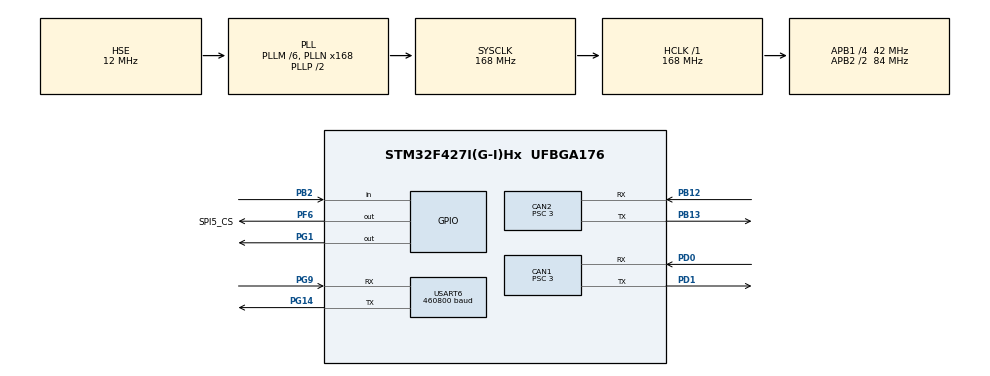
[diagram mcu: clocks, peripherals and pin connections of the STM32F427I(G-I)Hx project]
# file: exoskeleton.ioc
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CAN1.BS1=CAN_BS1_9TQ
CAN1.BS2=CAN_BS2_4TQ
CAN1.CalculateBaudRate=1000000
CAN1.CalculateTimeBit=1000
CAN1.CalculateTimeQuantum=71.42857142857143
CAN1.NART=DISABLE
CAN1.Prescaler=3
CAN1.SJW=CAN_SJW_1TQ
CAN2.BS1=CAN_BS1_9TQ
CAN2.BS2=CAN_BS2_4TQ
CAN2.CalculateBaudRate=1000000
CAN2.CalculateTimeBit=1000
CAN2.CalculateTimeQuantum=71.42857142857143
CAN2.Prescaler=3
Dma.Request0=USART6_RX
Dma.USART6_RX.0.Direction=DMA_PERIPH_TO_MEMORY
Dma.USART6_RX.0.FIFOMode=DMA_FIFOMODE_DISABLE
Dma.USART6_RX.0.Instance=DMA2_Stream1
Dma.USART6_RX.0.MemDataAlignment=DMA_MDATAALIGN_BYTE
Dma.USART6_RX.0.MemInc=DMA_MINC_ENABLE
Dma.USART6_RX.0.Mode=DMA_CIRCULAR
Dma.USART6_RX.0.PeriphDataAlignment=DMA_PDATAALIGN_BYTE
Dma.USART6_RX.0.PeriphInc=DMA_PINC_DISABLE
Dma.USART6_RX.0.Priority=DMA_PRIORITY_LOW
FREERTOS.INCLUDE_vTaskDelayUntil=1
FREERTOS.MEMORY_ALLOCATION=0
FREERTOS.Tasks01=SendPC,0,256,SendPCTask,Default,NULL,Dynamic,NULL,NULL;Schedule,0,256,scheduleTask,Default,NULL,Dynamic,NULL,NULL;Control,0,256,ControlTaskHandle,Default,NULL,Dynamic,NULL,NULL
FREERTOS.configENABLE_FPU=1
FREERTOS.configUSE_TIMERS=1
Mcu.Family=STM32F4
Mcu.Name=STM32F427I(G-I)Hx
Mcu.Package=UFBGA176
NVIC.CAN1_RX0_IRQn=true\:5\:0\:false\:false\:true\:true\:true\:true\:true
NVIC.CAN2_RX0_IRQn=true\:5\:0\:false\:false\:true\:true\:true\:true\:true
NVIC.DMA2_Stream1_IRQn=true\:5\:0\:false\:false\:true\:true\:false\:true\:true
NVIC.PriorityGroup=NVIC_PRIORITYGROUP_4
NVIC.TIM1_UP_TIM10_IRQn=true\:15\:0\:false\:false\:true\:false\:false\:true\:true
NVIC.TimeBase=TIM1_UP_TIM10_IRQn
NVIC.TimeBaseIP=TIM1
NVIC.USART6_IRQn=true\:5\:0\:false\:false\:true\:true\:true\:true\:true
PA13.Mode=Serial_Wire
PA13.Signal=SYS_JTMS-SWDIO
PA14.Mode=Serial_Wire
PA14.Signal=SYS_JTCK-SWCLK
PB12.Mode=CAN_Activate
PB12.Signal=CAN2_RX
PB13.Mode=CAN_Activate
PB13.Signal=CAN2_TX
PB2/BOOT1.Signal=GPIO_Input
PC14/OSC32_IN.Mode=LSE-External-Oscillator
PC14/OSC32_IN.Signal=RCC_OSC32_IN
PC15/OSC32_OUT.Mode=LSE-External-Oscillator
PC15/OSC32_OUT.Signal=RCC_OSC32_OUT
PD0.GPIO_PuPd=GPIO_NOPULL
PD0.Mode=CAN_Activate
PD0.Signal=CAN1_RX
PD1.GPIO_PuPd=GPIO_NOPULL
PD1.Mode=CAN_Activate
PD1.Signal=CAN1_TX
PD8.Signal=USART3_TX
PD9.Signal=USART3_RX
PE7.Signal=UART7_RX
PE8.Signal=UART7_TX
PF6.GPIO_Label=SPI5_CS
PF6.Signal=GPIO_Output
PG1.Signal=GPIO_Output
PG14.Mode=Asynchronous
PG14.Signal=USART6_TX
PG9.Mode=Asynchronous
PG9.Signal=USART6_RX
PH0/OSC_IN.Mode=HSE-External-Oscillator
PH0/OSC_IN.Signal=RCC_OSC_IN
PH1/OSC_OUT.Mode=HSE-External-Oscillator
PH1/OSC_OUT.Signal=RCC_OSC_OUT
ProjectManager.HeapSize=0x200
ProjectManager.StackSize=0x400
ProjectManager.TargetToolchain=MDK-ARM V5.32
RCC.48MHZClocksFreq_Value=48000000
RCC.AHBFreq_Value=168000000
RCC.APB1CLKDivider=RCC_HCLK_DIV4
RCC.APB1Freq_Value=42000000
RCC.APB1TimFreq_Value=84000000
RCC.APB2CLKDivider=RCC_HCLK_DIV2
RCC.APB2Freq_Value=84000000
RCC.APB2TimFreq_Value=168000000
RCC.CortexFreq_Value=168000000
RCC.HCLKFreq_Value=168000000
RCC.HSE_VALUE=12000000
RCC.HSI_VALUE=16000000
RCC.PLLM=6
RCC.PLLN=168
RCC.PLLQ=7
RCC.PLLSourceVirtual=RCC_PLLSOURCE_HSE
RCC.SYSCLKFreq_VALUE=168000000
RCC.SYSCLKSource=RCC_SYSCLKSOURCE_PLLCLK
RCC.VCOOutputFreq_Value=336000000
TIM2.AutoReloadPreload=TIM_AUTORELOAD_PRELOAD_ENABLE
USART6.BaudRate=460800
USART6.VirtualMode=VM_ASYNC
VP_CRC_VS_CRC.Mode=CRC_Activate
VP_FREERTOS_VS_CMSIS_V1.Mode=CMSIS_V1
VP_RTC_VS_RTC_Activate.Mode=RTC_Enabled
VP_SYS_VS_tim1.Mode=TIM1
VP_TIM2_VS_ClockSourceINT.Mode=Internal
board=custom

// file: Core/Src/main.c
/* USER CODE BEGIN Header */
/**
  ******************************************************************************
  * @file           : main.c
  * @brief          : Main program body
  ******************************************************************************
  * @attention
  *
  * Copyright (c) 2024 STMicroelectronics.
  * All rights reserved.
  *
  * This software is licensed under terms that can be found in the LICENSE file
  * in the root directory of this software component.
  * If no LICENSE file comes with this software, it is provided AS-IS.
  *
  ******************************************************************************
  */
/* USER CODE END Header */
#include "main.h"
#include "cmsis_os.h"
#include "can.h"
#include "crc.h"
#include "dma.h"
#include "rtc.h"
#include "tim.h"
#include "usart.h"
#include "gpio.h"

/* USER CODE BEGIN Includes */
#include "admittance_control.h"
#include "impandance_control.h"
#include "serial_parser.h"
#include "Switcher.h"
//#include "usbd_cdc_if.c"

/* USER CODE END Includes */

/* USER CODE BEGIN PV */
int cnt = 0;
/* USER CODE END PV */

void SystemClock_Config(void);
void MX_FREERTOS_Init(void);

/* USER CODE BEGIN 0 */
void pc_debug(void);
/* USER CODE END 0 */

int main(void)
{

  /* MCU Configuration--------------------------------------------------------*/

  /* Reset of all peripherals, Initializes the Flash interface and the Systick. */
  HAL_Init();

  /* Configure the system clock */
  SystemClock_Config();

  /* Initialize all configured peripherals */
  MX_GPIO_Init();
  MX_DMA_Init();
  MX_CAN1_Init();
  MX_USART6_UART_Init();
  MX_CRC_Init();
  MX_CAN2_Init();
  MX_RTC_Init();
  MX_TIM2_Init();
  /* USER CODE BEGIN 2 */

  for(int i = 0; i < 2; i++)
    joint_init(&joint[i],i,20,10);

  HAL_CAN_ActivateNotification(&hcan1, CAN_IT_RX_FIFO0_MSG_PENDING);
  HAL_CAN_ActivateNotification(&hcan2, CAN_IT_RX_FIFO0_MSG_PENDING);

  EnterMotorMode(1);

  HAL_UART_Receive_DMA(&huart6 , uart_dma_rx_buf ,256);

	__HAL_UART_ENABLE_IT(&huart6, UART_IT_IDLE);

	for(int i = 0; i < 2; i++){
		float flag = i == 0? 1 : -1;
		Admittance_init(&ACtrl[i], &joint[i], 2.0, 5, 15);
		ImpedanceCtrl_Init(&Ictrl[i], 2.0, 5, 15, flag, 1000);
		LPF_Init(&joint_lpf[i],10,0.001);
    Virtual_init(&virtual_state[i], 20.0, 15.0, 100.0);
	}

  /* USER CODE END 2 */

  /* Call init function for freertos objects (in freertos.c) */
  MX_FREERTOS_Init();

  /* Start scheduler */
  osKernelStart();

  /* We should never get here as control is now taken by the scheduler */
  /* Infinite loop */
  while (1)
    {

    }
}

void SystemClock_Config(void)
{
  RCC_OscInitTypeDef RCC_OscInitStruct = {0};
  RCC_ClkInitTypeDef RCC_ClkInitStruct = {0};

  /** Configure the main internal regulator output voltage
  */
  __HAL_RCC_PWR_CLK_ENABLE();
  __HAL_PWR_VOLTAGESCALING_CONFIG(PWR_REGULATOR_VOLTAGE_SCALE1);

  /** Initializes the RCC Oscillators according to the specified parameters
  * in the RCC_OscInitTypeDef structure.
  */
  RCC_OscInitStruct.OscillatorType = RCC_OSCILLATORTYPE_LSI|RCC_OSCILLATORTYPE_HSE;
  RCC_OscInitStruct.HSEState = RCC_HSE_ON;
  RCC_OscInitStruct.LSIState = RCC_LSI_ON;
  RCC_OscInitStruct.PLL.PLLState = RCC_PLL_ON;
  RCC_OscInitStruct.PLL.PLLSource = RCC_PLLSOURCE_HSE;
  RCC_OscInitStruct.PLL.PLLM = 6;
  RCC_OscInitStruct.PLL.PLLN = 168;
  RCC_OscInitStruct.PLL.PLLP = RCC_PLLP_DIV2;
  RCC_OscInitStruct.PLL.PLLQ = 7;
  if (HAL_RCC_OscConfig(&RCC_OscInitStruct) != HAL_OK)
  {
    Error_Handler();
  }

  /** Initializes the CPU, AHB and APB buses clocks
  */
  RCC_ClkInitStruct.ClockType = RCC_CLOCKTYPE_HCLK|RCC_CLOCKTYPE_SYSCLK
                              |RCC_CLOCKTYPE_PCLK1|RCC_CLOCKTYPE_PCLK2;
  RCC_ClkInitStruct.SYSCLKSource = RCC_SYSCLKSOURCE_PLLCLK;
  RCC_ClkInitStruct.AHBCLKDivider = RCC_SYSCLK_DIV1;
  RCC_ClkInitStruct.APB1CLKDivider = RCC_HCLK_DIV4;
  RCC_ClkInitStruct.APB2CLKDivider = RCC_HCLK_DIV2;

  if (HAL_RCC_ClockConfig(&RCC_ClkInitStruct, FLASH_LATENCY_5) != HAL_OK)
  {
    Error_Handler();
  }
}

void HAL_TIM_PeriodElapsedCallback(TIM_HandleTypeDef *htim)
{
  if (htim->Instance == TIM1) {
    HAL_IncTick();
  }
}

void Error_Handler(void)
{
  __disable_irq();
  while (1)
    {
    }
}

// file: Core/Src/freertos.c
/* USER CODE BEGIN Header */
/**
  ******************************************************************************
  * File Name          : freertos.c
  * Description        : Code for freertos applications
  ******************************************************************************
  * @attention
  *
  * Copyright (c) 2025 STMicroelectronics.
  * All rights reserved.
  *
  * This software is licensed under terms that can be found in the LICENSE file
  * in the root directory of this software component.
  * If no LICENSE file comes with this software, it is provided AS-IS.
  *
  ******************************************************************************
  */
/* USER CODE END Header */

#include "FreeRTOS.h"
#include "task.h"
#include "main.h"
#include "cmsis_os.h"

/* USER CODE BEGIN Includes */
#include "usart.h"
#include "my_task.h"
#include "TCPsend.h"
#include "control.h"
#include "admittance_control.h"
#include "impandance_control.h"
#include "can.h"
#include "cansend.h"
#include "Switcher.h"
#include "filt.h"
#include "serial_parser.h"
#include "compliance_ctrl.h"
/* USER CODE END Includes */

/* USER CODE BEGIN PD */

#define MAXT 10

/* USER CODE END PD */

/* USER CODE BEGIN Variables */
osThreadId controlTaskHandle;
/* USER CODE END Variables */
osThreadId SendPCHandle;
osThreadId ScheduleHandle;
osThreadId ControlHandle;

void SendPCTask(void const * argument);
void scheduleTask(void const * argument);
void ControlTaskHandle(void const * argument);

void MX_FREERTOS_Init(void); /* (MISRA C 2004 rule 8.1) */

void MX_FREERTOS_Init(void) {
  /* USER CODE BEGIN Init */
  serial_parser_init();
  for(int i = 0; i < 2; i++){
    Compliance_GetDefaultParams(&comp_params[i]);
    Compliance_Init(&comp_params[i], &comp_state[i]);
  }
  /* USER CODE END Init */

  /* Create the thread(s) */
  /* definition and creation of SendPC */
  osThreadDef(SendPC, SendPCTask, osPriorityNormal, 0, 512);
  SendPCHandle = osThreadCreate(osThread(SendPC), NULL);

  /* definition and creation of Schedule */
  osThreadDef(Schedule, scheduleTask, osPriorityNormal, 0, 512);
  ScheduleHandle = osThreadCreate(osThread(Schedule), NULL);

  /* definition and creation of Control */
  osThreadDef(Control, ControlTaskHandle, osPriorityNormal, 0, 512);
  ControlHandle = osThreadCreate(osThread(Control), NULL);

  /* USER CODE BEGIN RTOS_THREADS */
  /* add threads, ... */
	// osThreadDef(Acontrol, vControlOutputTask, osPriorityNormal, 0, 128);
	// controlTaskHandle = osThreadCreate(osThread(Acontrol), NULL);
  /* USER CODE END RTOS_THREADS */

}

/* USER CODE BEGIN Header_SendPCTask */
/**
  * @brief  Function implementing the SendPC thread.
  * @param  argument: Not used
  * @retval None
  */
volatile float global_values[8];
/* USER CODE END Header_SendPCTask */
void SendPCTask(void const * argument)
{
  /* USER CODE BEGIN SendPCTask */
	const TickType_t xFrequency = pdMS_TO_TICKS(1); // ??100ms
	TickType_t xLastWakeTime = xTaskGetTickCount();
  /* Infinite loop */
  for(;;)
  {
    uint8_t payload[MAX_PAYLOAD_LEN];
    uint8_t len;

    if (serial_parse_frame(payload, &len)) {
        // 收到完整帧，处理数据

        // 示例1: 解析为float数组

        int count = parse_floats(payload, len, (float*)global_values, 3);
        // 使用 values[0], values[1], ...

    }

    vTaskDelayUntil(&xLastWakeTime, xFrequency);
  }
  /* USER CODE END SendPCTask */
}

/* USER CODE BEGIN Header_scheduleTask */
/**
* @brief Function implementing the Schedule thread.
* @param argument: Not used
* @retval None
*/
// 时间范围: t ∈ [0.000000, 1.999000]
//#define T_MIN_P 0.000000
//#define T_MAX_P 2.721000

// 傅里叶系数
// wzh right_up_di
//static const double w = 1.017190706287113e+01;  // 角频率
//static const double a0 = -9.108506712565281e-01;
//static const double a[] = {3.178938902301109e-01, 1.318572500854099e-01, -4.626654956653483e-02};
//static const double b[] = {7.694517550492494e-02, 1.067942984658690e-01, 2.332483507032227e-02};

// wzg right_up_gao
// 傅里叶系数
//static const double w = 9.085002738813143e+00;  // 角频率
//static const double a0 = -8.558713808726979e-01;
//static const double a[] = {3.714930085264309e-01, 1.344914296912033e-01, -1.208698989869265e-02};
//static const double b[] = {-1.073221925928646e-01, -4.284804686540649e-02, 6.363065113276095e-02};

// szy jing
//// 时间范围: t ∈ [0.000000, 0.921000]
//#define T_MIN_P 0.000000
//#define T_MAX_P 2.921000

//// 傅里叶系数
//static const double w = 7.149736970401064e+00;  // 角频率
//static const double a0 = -9.012146016432182e-01;
//static const double a[] = {6.692161768879318e-01, 2.143694606058872e-01, 6.803538346503635e-02};
//static const double b[] = {-2.170490735683210e-01, -1.471214564634978e-01, 1.386343467134605e-01};

// szy yuan
//// 时间范围: t ∈ [0.000000, 1.018000]
//#define T_MIN_P 0.000000
//#define T_MAX_P 2.018000

//// 傅里叶系数
//static const double w = 5.567456806943049e+00;  // 角频率
//static const double a0 = -7.531657271911131e-01;
//static const double a[] = {5.265103300742116e-01, 3.840975729741392e-02, 2.344655208986193e-01, 7.183539333085006e-03};
//static const double b[] = {-6.038621678663676e-01, -1.252499189785593e-02, -9.961424178530858e-03, 1.020178519471053e-01};

////wch di
//#define T_MIN_P 0.000000
//#define T_MAX_P 1.023000

//// 傅里叶系数
//static const double w = 6.301958474628949e+00;  // 角频率
//static const double a0 = 2.355991245050300e-01;
//static const double a[] = {-1.232299712676776e-02, -2.218585643657538e-01, 1.820611909519642e-02, -3.540546088750866e-03};
//static const double b[] = {-3.388379035700089e-01, -3.838551717485243e-02, 9.241659231690086e-02, -1.455855930983151e-02};

//wch gao
// 时间范围: t ∈ [0.000000, 0.910000]
#define T_MIN_P 0.000000
#define T_MAX_P 0.910000

// 傅里叶系数
static const double w = 7.216352212816728e+00;  // 角频率
static const double a0 = 2.723864061044429e-01;
static const double a[] = {1.382235568242246e-01, -1.621382155843857e-01, -1.376901738052186e-01, -1.387745172159359e-02};
static const double b[] = {-4.076819947468329e-01, -1.890605291499078e-01, 7.307708442016677e-03, 7.837771083478309e-02};

// 角度 (rad)
double get_angle(double t) {
    double sum = a0;
    for (int i = 0; i < 4; i++) {
        sum += a[i]*cos((i+1)*w*t) + b[i]*sin((i+1)*w*t);
    }
    return sum;
}

// 速度 (rad/s)
double get_velocity(double t) {
    double sum = 0;
    for (int i = 0; i < 4; i++) {
        double nw = (i+1)*w;
        sum += nw*(-a[i]*sin(nw*t) + b[i]*cos(nw*t));
    }
    return sum;
}

// 加速度 (rad/s²)
double get_acc(double t) {
    double sum = 0;
    for (int i = 0; i < 4; i++) {
        double nw = (i+1)*w;
        sum += -nw*nw*(a[i]*cos(nw*t) + b[i]*sin(nw*t));
    }
    return sum;
}
//typedef enum {
//    COMP_MODE_IMPEDANCE = 1,    // 纯阻抗模式
//    COMP_MODE_ADMITTANCE,       // 纯导纳模式
//    COMP_MODE_HYBRID_FIXED,     // 固定占空比混合
//    COMP_MODE_HYBRID_ADAPT,     // 自适应占空比混合
//    COMP_MODE_PROXY             // 虚拟代理模式
//} ComplianceMode_e;

volatile int control_flag = 0,start_flag = 0;
int n[2] = {5,5};
ComplianceMode_e mode = COMP_MODE_IMPEDANCE;
float cmd[2][3] = {{0,0,0},{0,0,0}};
volatile float p = 40,d = 15;
/* USER CODE END Header_scheduleTask */
void scheduleTask(void const * argument)
{
  /* USER CODE BEGIN scheduleTask */
	const TickType_t xFrequency = pdMS_TO_TICKS(1); // 1ms
	TickType_t xLastWakeTime = xTaskGetTickCount();
	double t = 0;
  /* Infinite loop */
  for(;;)
  {
		vTaskDelayUntil(&xLastWakeTime, xFrequency);
		control_flag = global_values[1];
		mode = (ComplianceMode_e)global_values[2];
		if(control_flag == 0){
			continue;
		}
		if(t >= T_MAX_P){
			control_flag = 0;
			t = 0;
			global_values[1] = 0;

		}
		if(t == 0){
			EnterMotorMode(1);
		}
//		if(start_flag == 0){
//			t = 0;
//			continue;
//		}

    for(int i = 0; i < MOTOR; i++){
//      Impedance_update(&Ictrl[i], joint[i].ret[0], joint[i].ret[1]);
//      float flag = i == 0? 1 : -1;
//      float tau_c = joint[i].kp *(virtual_state[i].x - flag * joint[i].ret[0])
//        + joint[i].kd * (virtual_state[i].v - flag * joint[i].ret[1]);
//			float tau;
//      if(cnt >= n[i] && cnt <= MAXT){
//        tau = Ac2Vs_Tau(&ACtrl[i], &virtual_state[i]);
//        Virtual_compute(&virtual_state[i], tau, tau_c, 0.001);
//				joint[i].moveflag = MODE_ADM;
//      }else if(cnt < n[i]){
//        tau = Ic2Vs_Tau(&Ictrl[i], &virtual_state[i]);
//        Virtual_compute(&virtual_state[i], tau, tau_c, 0.001);
//				joint[i].moveflag = MODE_IMP;
//      }
			cmd[i][0] = get_angle(t);
			cmd[i][1] = get_velocity(t);
			cmd[i][2] = get_acc(t);
			joint[i].pos_cmd = cmd[i][0];
      RobotFeedback_t fb = fb_creater(joint[i].ret[0], joint[i].ret[1], joint[i].ret[2]);
      DesiredTrajectory_t traj = traj_creater(cmd[i][0], cmd[i][1], cmd[i][2]);
      joint[i].moveflag = Compliance_Update(mode,
                                          &comp_params[i],
                                          &comp_state[i],
                                          &traj,
                                          &fb,
                                          &comp_output[i]);

			joint_set(&joint[i],comp_output[i].pos_cmd,comp_output[i].vel_cmd,0,p,d);
      pack_cmd(joint[i].senddata, joint[i]);
    }

    CAN_Send_Msg(&hcan1, joint[0].senddata, 1);
    CAN_Send_Msg(&hcan2, joint[1].senddata, 1);
    uint8_t buffer[128] = {0};
    uint8_t tmp = 0;
    tmp = joint_pack(&joint[0], buffer, tmp);
    tmp = joint_pack(&joint[1], buffer, tmp);
    sendData(buffer, tmp);
		t += 0.001f;

  }
  /* USER CODE END scheduleTask */
}

void ControlTaskHandle(void const * argument)
{
  /* USER CODE BEGIN ControlTaskHandle */
	const TickType_t xFrequency = pdMS_TO_TICKS(1); // 1ms
	TickType_t xLastWakeTime = xTaskGetTickCount();
	double t = 0;
  /* Infinite loop */
  for(;;)
  {
		for(int i = 0; i < MOTOR; i ++){
      float force_flag = joint[i].force_flag;
      float x = Ictrl[i].flag * joint[i].ret[0];
			float pos_des = i == 0 ? 0: 0;
			Admittance_Compute(&ACtrl[i], force_flag * joint[i].ret[2], pos_des, 0.0f);
			Impedance_Set(&Ictrl[i], pos_des , Ictrl[i].K_, Ictrl[i].B_);
		}
		t += 0.001;
    vTaskDelayUntil(&xLastWakeTime, xFrequency);
  }
  /* USER CODE END ControlTaskHandle */
}
